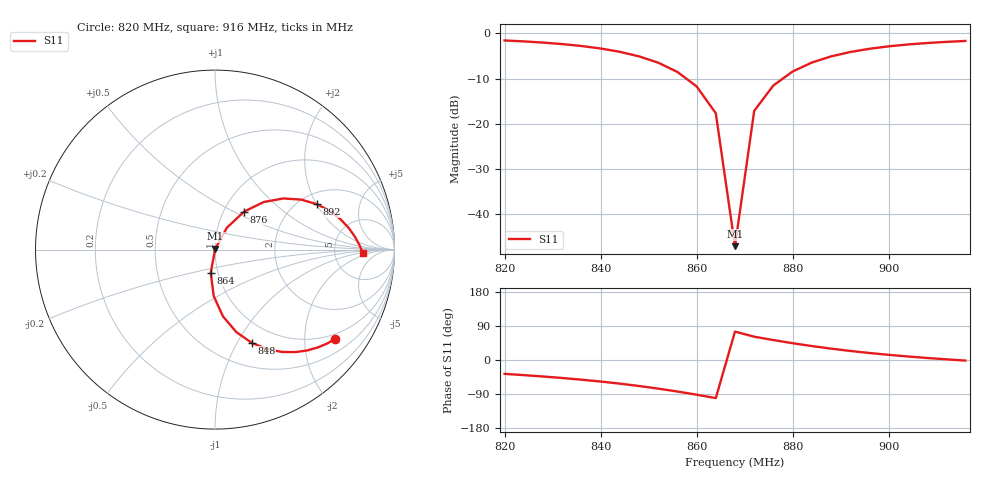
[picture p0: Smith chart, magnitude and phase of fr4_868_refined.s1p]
# Hz S RI R 50
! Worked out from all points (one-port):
!   25 points, 820 MHz to 916 MHz, reference 50 ohm
!   lowest |S11| = -47.0 dB at 868 MHz (marker M1), VSWR 1.01, Z = 50.1 + j0.432 ohm
!   |S11| at or under -10 dB: 857.9 MHz to 877.9 MHz (20.09 MHz wide, 2.32 % of centre)
!   S11 on the Smith chart (normalised r, x): 820 MHz: 0.85, -2.79; 848 MHz: 0.76, -1.15; 864 MHz: 0.92, -0.24; 876 MHz: 1.24, +0.57; 892 MHz: 2.46, +2.02; 916 MHz: 10, -1
8.2e8  0.6706 -0.4977
8.24e8  0.6255 -0.5228
8.28e8  0.5738 -0.5447
8.32e8  0.5146 -0.5616
8.36e8  0.4474 -0.5712
8.4e8  0.3722 -0.5701
8.44e8  0.29 -0.5544
8.48e8  0.2037 -0.519
8.52e8  0.1188 -0.4594
8.56e8  0.0446 -0.3724
8.6e8  -0.00699 -0.2595
8.64e8  -0.0239 -0.129
8.68e8  0.00116 0.00431
8.72e8  0.0666 0.1225
8.76e8  0.1617 0.2114
8.8e8  0.2712 0.265
8.84e8  0.3812 0.285
8.88e8  0.482 0.2782
8.92e8  0.569 0.2523
8.96e8  0.6409 0.2143
9e8  0.6987 0.1696
9.04e8  0.744 0.1217
9.08e8  0.7788 0.073
9.12e8  0.8051 0.025
9.16e8  0.8243 -0.0216
